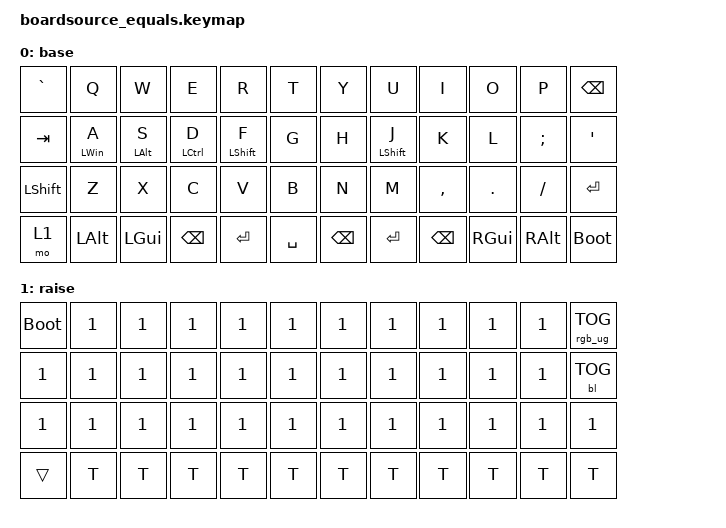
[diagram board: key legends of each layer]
/*
 * Copyright (c) 2022 Pete Johanson
 *
 * SPDX-License-Identifier: MIT
 */

#include <behaviors.dtsi>
#include <dt-bindings/zmk/backlight.h>
#include <dt-bindings/zmk/keys.h>
#include <dt-bindings/zmk/rgb.h>

&sk {
    quick-release;
};

/ {
    chosen {
        zmk,matrix_transform = &ortho48_transform;
    };

    behaviors {
        hrm: hrm {
            compatible = "zmk,behavior-hold-tap";
            label = "HRM";
            bindings = <&kp>, <&kp>;

            #binding-cells = <2>;
            tapping-term-ms = <175>;
            flavor = "tap-preferred";
            hold-trigger-key-positions = <0 1 2 3 4 5 6 7 8 9 10 11 12 13 14 15 16 17 18 19 20 21 22 23 24 25 26 27 28 29 30 31 32 33 34 35 36 37 38 39 40 41 42 43 44 45 46 47>;
        };
        hsticky: hsticky {
            compatible = "zmk,behavior-hold-tap";
            label = "HSTICKY";
            bindings = <&sk>, <&kp>;

            #binding-cells = <2>;
            tapping-term-ms = <175>;
            flavor = "tap-preferred";
            hold-trigger-key-positions = <0 1 2 3 4 5 6 7 8 9 10 11 12 13 14 15 16 17 18 19 20 21 22 23 24 25 26 27 28 29 30 31 32 33 34 35 36 37 38 39 40 41 42 43 44 45 46 47>;
        };
    };

    keymap {
        compatible = "zmk,keymap";

        layer_0 {
            bindings = <
&kp GRAVE  &kp Q        &kp W            &kp E         &kp R              &kp T      &kp Y     &kp U              &kp I      &kp O     &kp P     &kp BSPC
&kp TAB    &hrm LWIN A  &hrm LEFT_ALT S  &hrm LCTRL D  &hsticky LSHIFT F  &kp G      &kp H     &hsticky LSHIFT J  &kp K      &kp L     &kp SEMI  &kp SQT
&kp LSHFT  &kp Z        &kp X            &kp C         &kp V              &kp B      &kp N     &kp M              &kp COMMA  &kp DOT   &kp FSLH  &kp RET
&mo 1      &kp LALT     &kp LGUI         &kp BSPC      &kp ENTER          &kp SPACE  &kp BSPC  &kp ENTER          &kp BSPC   &kp RGUI  &kp RALT  &bootloader
            >;

            label = "base";
        };

        layer_1 {
            bindings = <
&bootloader  &kp N1  &kp N1  &kp N1  &kp N1  &kp N1  &kp N1  &kp N1  &kp N1  &kp N1  &kp N1  &rgb_ug RGB_TOG
&kp N1       &kp N1  &kp N1  &kp N1  &kp N1  &kp N1  &kp N1  &kp N1  &kp N1  &kp N1  &kp N1  &bl BL_TOG
&kp N1       &kp N1  &kp N1  &kp N1  &kp N1  &kp N1  &kp N1  &kp N1  &kp N1  &kp N1  &kp N1  &kp N1
&trans       &kp T   &kp T   &kp T   &kp T   &kp T   &kp T   &kp T   &kp T   &kp T   &kp T   &kp T
            >;

            label = "raise";
        };
    };
};
